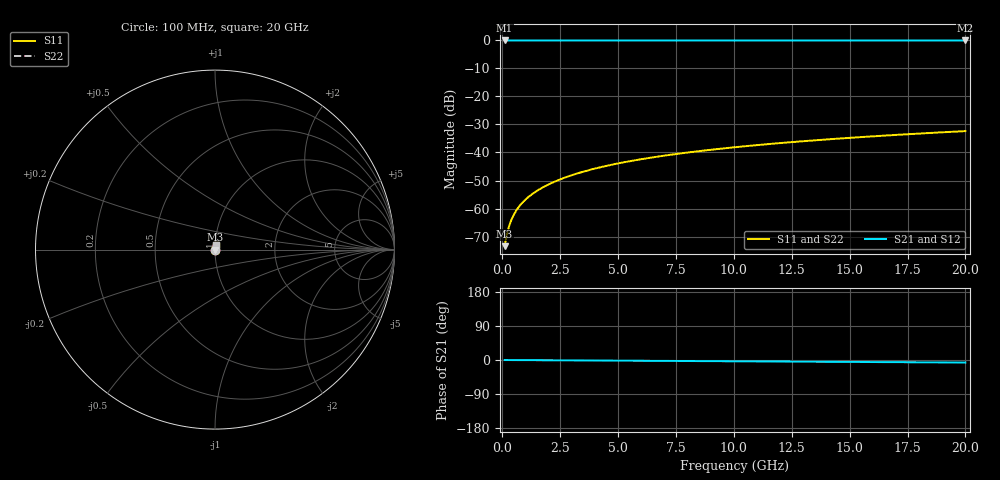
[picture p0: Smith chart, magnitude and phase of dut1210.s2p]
! Touchstone file exported from HFSS 2026.1.0
!  File:  C:/ffzhzh/LocalFiles/Ansys_Project_Files/temp_train_TSV_1210_1783192825_22436.aedt
!  Generated:  03:21:43 AM Jul  5, 2026
!  Design:  TSV
!  Project:  temp_train_TSV_1210_1783192825_22436
! Variables:
!  h_bsmrdl = 2um
!  h_ox = 20um
!  h_rdl = 5um
!  h_sub = 63.18um
!  h_tmrdl = 5um
!  h_tsv = 63.18um
!  h_via = 3um
!  l_bsmrdl = 300um
!  l_sub = 416.42um
!  l_tmrdl = 200um
!  m_sub = 200um
!  pitch = 42.24um
!  r_tsv = 8.21um
!  s_tmrdl = 10um
!  w_bsmrdl = 18um
!  w_sub = 500um
!  w_tmrdl = 12um
!  x_tsv_center1 = 206um
!  x_tsv_center2 = 524um
!  x_tsv_center3 = 736um
!  x_tsv_center4 = 1054um
!  x_tsv_center5 = 1266um
!  x_tsv_center6 = 1584um
# GHz S MA R 50.000000
! Terminal data exported
! Port[1] = TSV1_1_T1
! Port[2] = TSV1_1_T2
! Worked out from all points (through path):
!   200 points, 100 MHz to 20 GHz, reference 50 ohm
!   highest |S21| = 0.00 dB at 100 MHz (marker M1); lowest = 0.0 dB at 20 GHz (marker M2)
!   lowest |S11| = -73.4 dB at 100 MHz (marker M3), VSWR 1.00, Z = 50 + j0.0157 ohm
!   |S11| at or under -10 dB: start of sweep to end of sweep
!   |S22| runs from -73.4 to -32.4 dB; largest |S21 - S12| = 6.2e-15
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0.1  0.0002127 47.6  0.9999 -0.0  0.9999 -0.0  0.0002127 47.6
! Gamma 0 0 0 0
! Port Impedance 50 0 50 0
0.2  0.0003475 63.8  0.9998 -0.1  0.9998 -0.1  0.0003475 63.8
0.3  0.0004926 70.0  0.9998 -0.1  0.9998 -0.1  0.0004926 70.0
0.4  0.0006374 73.0  0.9998 -0.1  0.9998 -0.1  0.0006374 73.0
0.5  0.0007791 74.6  0.9998 -0.2  0.9998 -0.2  0.0007791 74.6
0.6  0.0009173 75.7  0.9998 -0.2  0.9998 -0.2  0.0009173 75.7
0.7  0.001052 76.4  0.9998 -0.2  0.9998 -0.2  0.001052 76.4
0.8  0.001184 77.0  0.9997 -0.3  0.9997 -0.3  0.001184 77.0
1  0.001442 78.0  0.9997 -0.3  0.9997 -0.3  0.001442 78.0
1.4  0.001945 79.4  0.9997 -0.5  0.9997 -0.5  0.001945 79.4
1.7  0.002319 80.3  0.9996 -0.6  0.9996 -0.6  0.002319 80.3
2  0.002692 80.9  0.9996 -0.7  0.9996 -0.7  0.002692 80.9
2.7  0.00356 81.9  0.9995 -0.9  0.9995 -0.9  0.00356 81.9
3.5  0.004548 82.5  0.9995 -1.2  0.9995 -1.2  0.004548 82.5
4.2  0.005407 82.7  0.9994 -1.4  0.9994 -1.4  0.005407 82.7
5  0.006381 82.9  0.9994 -1.7  0.9994 -1.7  0.006381 82.9
6.8  0.008551 83.0  0.9993 -2.3  0.9993 -2.3  0.008551 83.0
8.3  0.01034 82.9  0.9992 -2.8  0.9992 -2.8  0.01034 82.9
10.1  0.01248 82.6  0.9991 -3.4  0.9991 -3.4  0.01248 82.6
13.4  0.01638 82.0  0.9989 -4.5  0.9989 -4.5  0.01638 82.0
16.7  0.02025 81.3  0.9987 -5.6  0.9987 -5.6  0.02025 81.3
20  0.02409 80.4  0.9985 -6.7  0.9985 -6.7  0.02409 80.4
